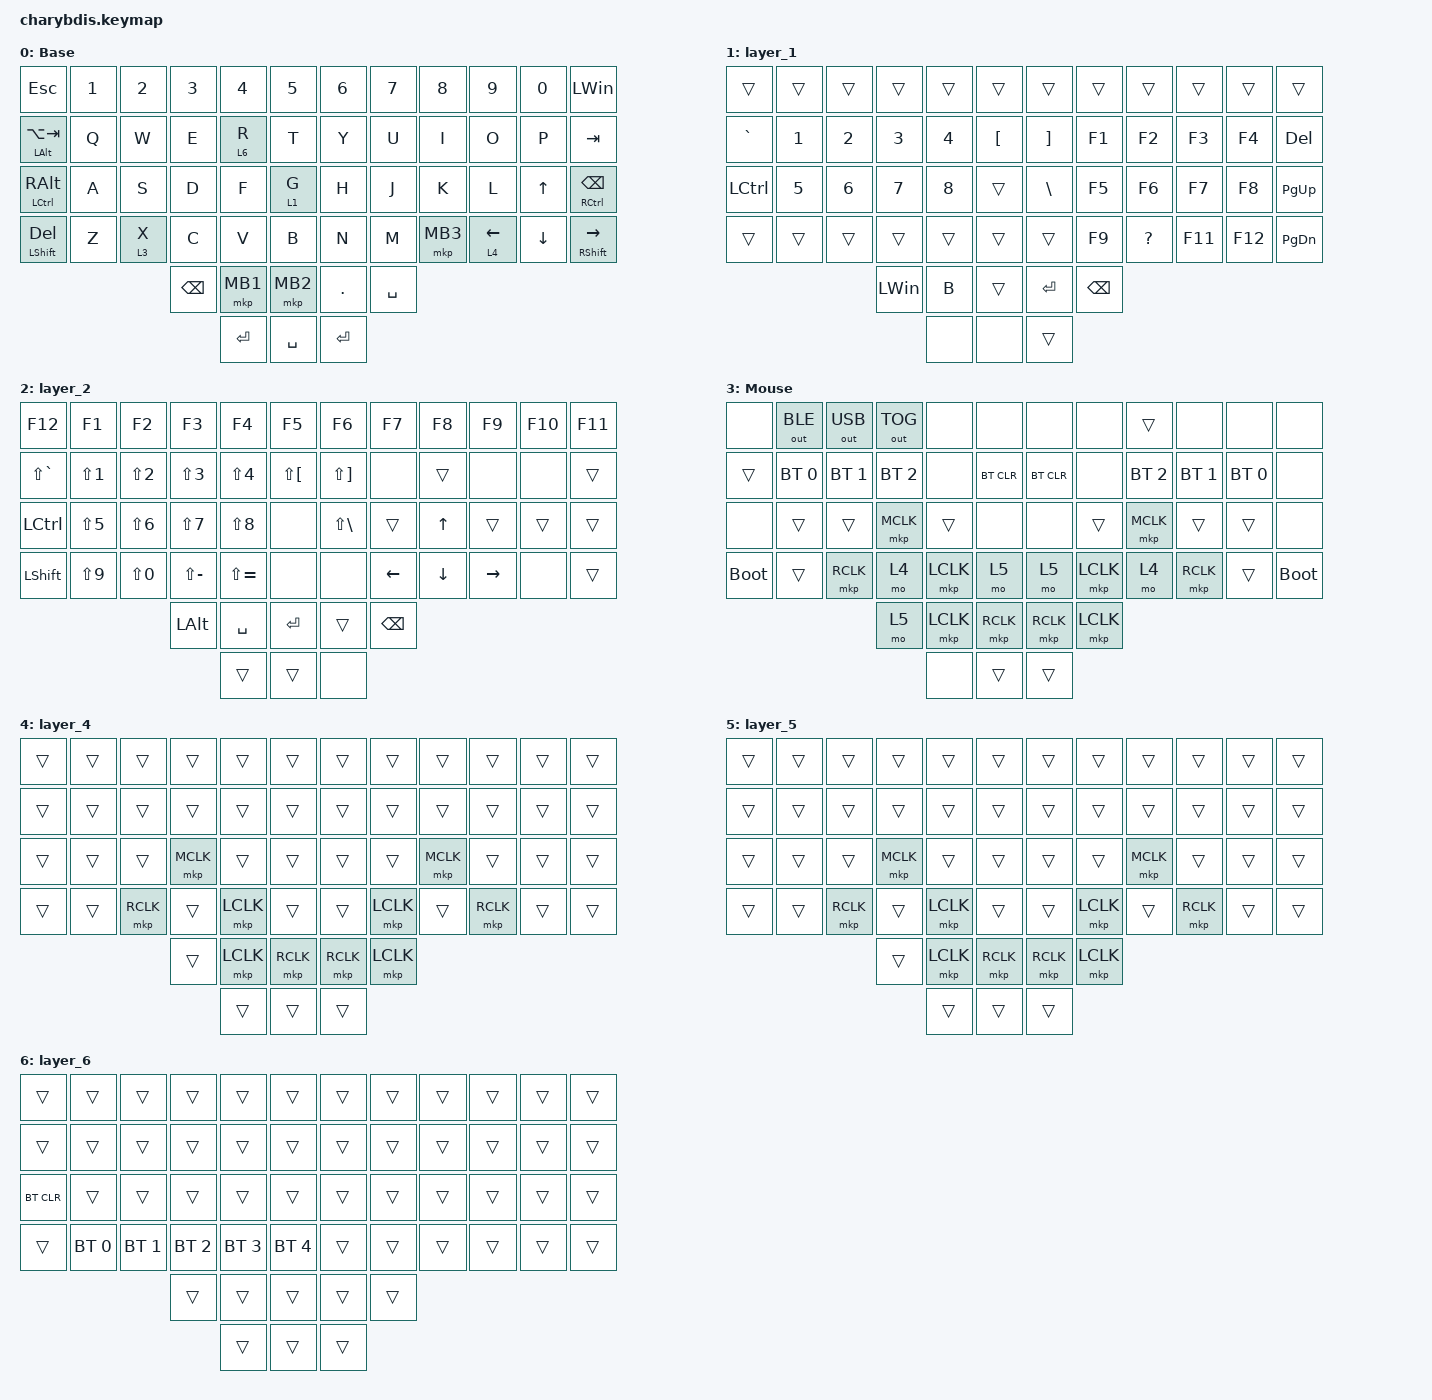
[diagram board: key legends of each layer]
#include <behaviors.dtsi>
#include <dt-bindings/zmk/bt.h>
#include <dt-bindings/zmk/ext_power.h>
#include <dt-bindings/zmk/keys.h>
#include <dt-bindings/zmk/mouse.h>
#include <dt-bindings/zmk/outputs.h>

&lt {
    tapping-term-ms = <200>;
    flavor = "balanced";
    quick-tap-ms = <150>;
};

/ {
    combos {
        compatible = "zmk,combos";

        escc {
            bindings = <&kp ESC>;
            key-positions = <17 18>;
            layers = <0>;
        };

        f1 {
            bindings = <&kp F1>;
            key-positions = <24 0>;
        };

        on {
            bindings = <&ext_power EP_OFF>;
            key-positions = <0 1>;
        };

        off {
            bindings = <&ext_power EP_ON>;
            key-positions = <10 11>;
        };

        onoff {
            bindings = <&ext_power EP_TOG>;
            key-positions = <5 6>;
        };

        questionmark {
            bindings = <&kp QUESTION>;
            key-positions = <28 44>;
        };

        minus {
            bindings = <&kp MINUS>;
            key-positions = <28 33>;
        };

        plus {
            bindings = <&kp PLUS>;
            key-positions = <28 21>;
        };

        dot {
            bindings = <&kp DOT>;
            key-positions = <28 45>;
        };

        slash {
            bindings = <&kp SLASH>;
            key-positions = <28 47>;
        };

        comma {
            bindings = <&kp COMMA>;
            key-positions = <46 40>;
        };

        underbar {
            bindings = <&kp UNDER>;
            key-positions = <30 40>;
        };

        quote {
            bindings = <&kp SINGLE_QUOTE>;
            key-positions = <19 40>;
        };

        doublequote {
            bindings = <&kp DOUBLE_QUOTES>;
            key-positions = <18 40>;
        };

        equal {
            bindings = <&kp EQUAL>;
            key-positions = <9 40>;
        };
    };

    keymap {
        compatible = "zmk,keymap";

        Base {
            bindings = <
&kp ESC                     &kp N1  &kp N2   &kp N3         &kp N4     &kp N5       &kp N6      &kp N7     &kp N8    &kp N9            &kp N0        &kp LEFT_WIN
&mt LEFT_ALT LA(TAB)        &kp Q   &kp W    &kp E          &lt 6 R    &kp T        &kp Y       &kp U      &kp I     &kp O             &kp P         &kp TAB
&mt LEFT_CONTROL RIGHT_ALT  &kp A   &kp S    &kp D          &kp F      &lt 1 G      &kp H       &kp J      &kp K     &kp L             &kp UP_ARROW  &mt RIGHT_CONTROL BACKSPACE
&mt LEFT_SHIFT DELETE       &kp Z   &lt 3 X  &kp C          &kp V      &kp B        &kp N       &kp M      &mkp MB3  &lt 4 LEFT_ARROW  &kp DOWN      &mt RIGHT_SHIFT RIGHT_ARROW
                                             &kp BACKSPACE  &mkp MB1   &mkp MB2     &kp PERIOD  &kp SPACE
                                                            &kp ENTER  &kp SPACE    &kp ENTER
            >;

            trackball-bindings = <&tmv_coarse>;
        };

        layer_1 {
            bindings = <
&trans            &trans        &trans        &trans        &trans        &trans      &trans     &trans         &trans        &trans   &trans   &trans
&kp GRAVE         &kp NUMBER_1  &kp NUMBER_2  &kp NUMBER_3  &kp NUMBER_4  &kp LBKT    &kp RBKT   &kp F1         &kp F2        &kp F3   &kp F4   &kp DEL
&kp LEFT_CONTROL  &kp NUMBER_5  &kp NUMBER_6  &kp NUMBER_7  &kp NUMBER_8  &trans      &kp BSLH   &kp F5         &kp F6        &kp F7   &kp F8   &kp PAGE_UP
&trans            &trans        &trans        &trans        &trans        &trans      &trans     &kp F9         &kp QUESTION  &kp F11  &kp F12  &kp PAGE_DOWN
                                              &kp LEFT_WIN  &kp B         &trans      &kp ENTER  &kp BACKSPACE
                                                            &none         &none       &trans
            >;
        };

        layer_2 {
            bindings = <
&kp F12           &kp F1      &kp F2      &kp F3         &kp F4         &kp F5          &kp F6        &kp F7         &kp F8    &kp F9     &kp F10  &kp F11
&kp LS(GRAVE)     &kp LS(N1)  &kp LS(N2)  &kp LS(N3)     &kp LS(N4)     &kp LS(LBKT)    &kp LS(RBKT)  &none          &trans    &none      &none    &trans
&kp LEFT_CONTROL  &kp LS(N5)  &kp LS(N6)  &kp LS(N7)     &kp LS(N8)     &none           &kp LS(BSLH)  &trans         &kp UP    &trans     &trans   &trans
&kp LEFT_SHIFT    &kp LS(N9)  &kp LS(N0)  &kp LS(MINUS)  &kp LS(EQUAL)  &none           &none         &kp LEFT       &kp DOWN  &kp RIGHT  &none    &trans
                                          &kp LEFT_ALT   &kp SPACE      &kp ENTER       &trans        &kp BACKSPACE
                                                         &trans         &trans          &none
            >;
        };

        Mouse {
            bindings = <
&none        &out OUT_BLE  &out OUT_USB  &out OUT_TOG  &none      &none         &none       &none      &trans        &none         &none         &none
&trans       &bt BT_SEL 0  &bt BT_SEL 1  &bt BT_SEL 2  &none      &bt BT_CLR    &bt BT_CLR  &none      &bt BT_SEL 2  &bt BT_SEL 1  &bt BT_SEL 0  &none
&none        &trans        &trans        &mkp MCLK     &trans     &none         &none       &trans     &mkp MCLK     &trans        &trans        &none
&bootloader  &trans        &mkp RCLK     &mo 4         &mkp LCLK  &mo 5         &mo 5       &mkp LCLK  &mo 4         &mkp RCLK     &trans        &bootloader
                                         &mo 5         &mkp LCLK  &mkp RCLK     &mkp RCLK   &mkp LCLK
                                                       &none      &trans        &trans
            >;
        };

        layer_4 {
            bindings = <
&trans  &trans  &trans     &trans     &trans     &trans       &trans     &trans     &trans     &trans     &trans  &trans
&trans  &trans  &trans     &trans     &trans     &trans       &trans     &trans     &trans     &trans     &trans  &trans
&trans  &trans  &trans     &mkp MCLK  &trans     &trans       &trans     &trans     &mkp MCLK  &trans     &trans  &trans
&trans  &trans  &mkp RCLK  &trans     &mkp LCLK  &trans       &trans     &mkp LCLK  &trans     &mkp RCLK  &trans  &trans
                           &trans     &mkp LCLK  &mkp RCLK    &mkp RCLK  &mkp LCLK
                                      &trans     &trans       &trans
            >;

            trackball-bindings = <&tsl>;//滚轮层
        };

        layer_5 {
            bindings = <
&trans  &trans  &trans     &trans     &trans     &trans       &trans     &trans     &trans     &trans     &trans  &trans
&trans  &trans  &trans     &trans     &trans     &trans       &trans     &trans     &trans     &trans     &trans  &trans
&trans  &trans  &trans     &mkp MCLK  &trans     &trans       &trans     &trans     &mkp MCLK  &trans     &trans  &trans
&trans  &trans  &mkp RCLK  &trans     &mkp LCLK  &trans       &trans     &mkp LCLK  &trans     &mkp RCLK  &trans  &trans
                           &trans     &mkp LCLK  &mkp RCLK    &mkp RCLK  &mkp LCLK
                                      &trans     &trans       &trans
            >;

            trackball-bindings = <&tmv_fine>;//精准指针层
        };

        layer_6 {
            bindings = <
&trans      &trans        &trans        &trans        &trans        &trans          &trans  &trans  &trans  &trans  &trans  &trans
&trans      &trans        &trans        &trans        &trans        &trans          &trans  &trans  &trans  &trans  &trans  &trans
&bt BT_CLR  &trans        &trans        &trans        &trans        &trans          &trans  &trans  &trans  &trans  &trans  &trans
&trans      &bt BT_SEL 0  &bt BT_SEL 1  &bt BT_SEL 2  &bt BT_SEL 3  &bt BT_SEL 4    &trans  &trans  &trans  &trans  &trans  &trans
                                        &trans        &trans        &trans          &trans  &trans
                                                      &trans        &trans          &trans
            >;
        };
    };
};
